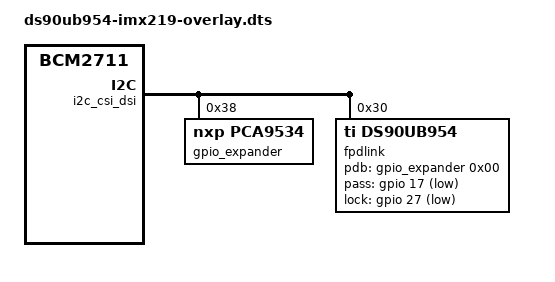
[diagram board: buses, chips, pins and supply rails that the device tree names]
/dts-v1/;
/plugin/;

#include <dt-bindings/interrupt-controller/irq.h>
#include <dt-bindings/gpio/gpio.h>

/ {
	compatible = "brcm,bcm2711";

	i2c_frag: fragment@0 {
		target = <&i2c_csi_dsi>;

		__overlay__ {
			#address-cells = <0x01>;
			#size-cells = <0x00>;
			status = "okay";

			gpio_expander: gpio@38 {
				compatible = "nxp,pca9534";
				reg = <0x38>;
				gpio-controller;
				#gpio-cells = <0x02>;
			};

			fpdlink: ds90ub954@30 {
				compatible = "ti,ds90ub954";
				reg = <0x30>;
				status = "okay";
				csi-lane-count = <0x02>;
				csi-lane-speed = <0x640>;
				pdb-gpio  = <&gpio_expander 0x00 0x00>;
				// pdb-gpios  = <&gpio 22 GPIO_ACTIVE_LOW>;
				pass-gpios = <&gpio 17 GPIO_ACTIVE_LOW>;
				lock-gpios = <&gpio 27 GPIO_ACTIVE_LOW>;

				i2c_address_s0: num-alias-pairs-s0 {
					list-cells = <0x02>;
				};

				serializers {
					status = "okay";
					num-channels = <0x02>;

					serializer@0 {
						status = "okay";
						rx-channel = <0x01>;
						i2c-address = <0x18>;
						csi-lane-count = <0x02>;
						gpio0-output-enable = <0x01>;
						gpio0-control = <0x09>;
						i2c-slave = <&i2c_address_s0 0x10 0x64>;
						slave-alias = <&i2c_address_s0 0x10 0x64>;
					};
				};
			};
		};
	};
};
